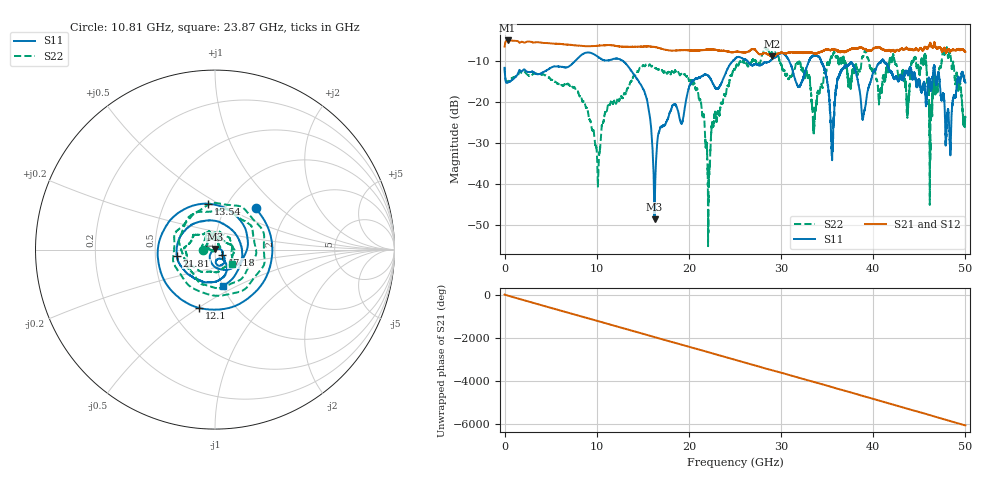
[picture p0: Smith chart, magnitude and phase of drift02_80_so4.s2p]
!Created with skrf (http://scikit-rf.org).
# Hz S RI R 50.0
!freq ReS11 ImS11 ReS21 ImS21 ReS12 ImS12 ReS22 ImS22
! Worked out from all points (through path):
!   10001 points, 300 kHz to 50 GHz, reference 50 ohm
!   highest |S21| = -5.04 dB at 325.3 MHz (marker M1); lowest = -8.9 dB at 29.01 GHz (marker M2)
!   group delay of S21, straight-line fit = 336 ps
!   lowest |S11| = -48.6 dB at 16.27 GHz (marker M3), VSWR 1.01, Z = 49.9 + j0.353 ohm
!   |S11| at or under -10 dB: start of sweep to 7.668 GHz; 12.82 GHz to 24.77 GHz (11.96 GHz wide, 63.6 % of centre); 41.14 GHz to end of sweep (the widest 3 of 8)
!   |S22| runs from -55.1 to -6.7 dB; largest |S21 - S12| = 0.032
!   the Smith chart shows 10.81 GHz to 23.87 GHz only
!   S11 on the Smith chart (normalised r, x): 10.81 GHz: 1.38, +0.70; 12.1 GHz: 0.69, -0.50; 13.54 GHz: 0.82, +0.45; 17.18 GHz: 1.08, -0.06; 21.81 GHz: 0.65, -0.04; 23.87 GHz: 1.01, -0.42
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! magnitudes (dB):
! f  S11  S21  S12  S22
! 300 kHz  -11.7  -6.5  -6.5  -11.6
! 325.3 MHz  -15.3  -5.0  -5.0  -15.1
! 8.335 GHz  -8.6  -6.4  -6.4  -19.0
! 10.11 GHz  -9.0  -6.3  -6.3  -38.9
! 10.81 GHz  -9.8  -6.2  -6.2  -23.6
! 12.1 GHz  -9.5  -6.4  -6.4  -20.4
! 13.54 GHz  -11.8  -6.6  -6.6  -15.9
! 16.27 GHz  -48.6  -6.6  -6.6  -11.7
! 16.67 GHz  -27.9  -6.8  -6.8  -12.1
! 17.18 GHz  -25.9  -7.2  -7.1  -12.6
! 21.81 GHz  -13.3  -7.3  -7.3  -30.1
! 23.87 GHz  -13.7  -7.6  -7.6  -18.2
! 25 GHz  -9.5  -7.8  -7.8  -12.0
! 29.01 GHz  -9.7  -8.9  -8.8  -7.9
! 33.34 GHz  -9.0  -8.0  -8.0  -20.2
! 35.55 GHz  -30.9  -7.2  -7.2  -9.2
! 36.78 GHz  -11.9  -7.8  -8.0  -9.7
! 41.67 GHz  -11.9  -7.4  -7.5  -11.7
! 45.5 GHz  -15.4  -6.9  -6.9  -9.4
! 46.27 GHz  -17.2  -6.2  -6.3  -21.7
! 48.12 GHz  -22.3  -7.2  -7.1  -9.1
! 50 GHz  -15.3  -7.9  -7.8  -22.8
